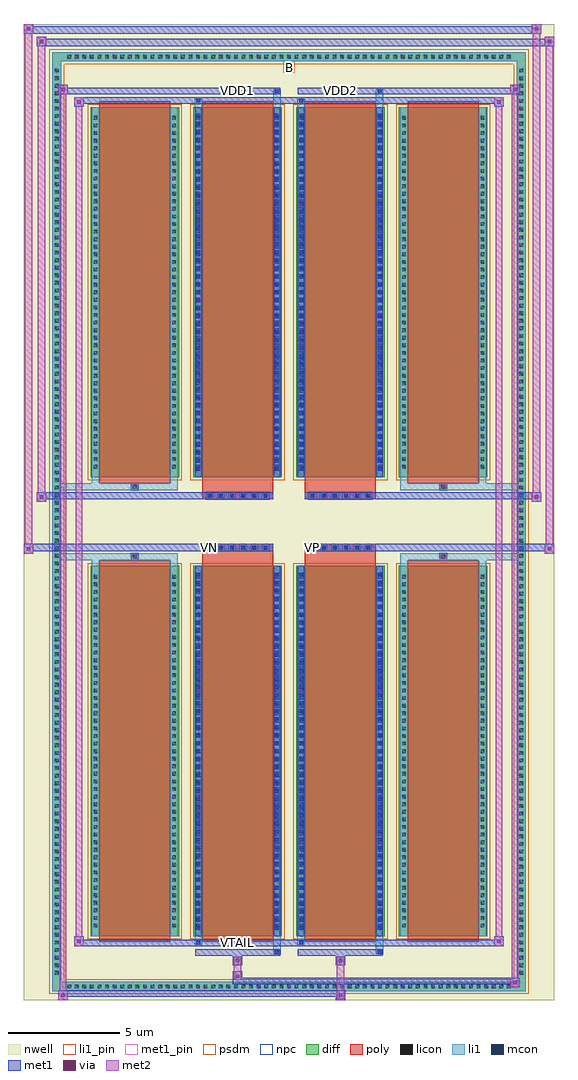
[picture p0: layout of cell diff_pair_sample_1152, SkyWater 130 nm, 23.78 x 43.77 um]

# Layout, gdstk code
import gdstk
lib = gdstk.Library(unit=1e-6, precision=5e-09)
def R(c, l, rs):  # rectangles x0, y0, x1, y1
    for r in rs: c.add(gdstk.rectangle(r[:2], r[2:], *l))
def A(c, l, x, y, w, h, nx, ny, dx, dy):  # array of equal rectangles
    R(c, l, [(x+i*dx, y+j*dy, x+i*dx+w, y+j*dy+h) for i in range(nx) for j in range(ny)])
def P(c, l, *ps):  # polygons
    for p in ps: c.add(gdstk.Polygon(p, *l))
nwell = (64, 20)
diff = (65, 20)
poly = (66, 20)
licon = (66, 44)
li1_pin = (67, 16)
li1 = (67, 20)
mcon = (67, 44)
met1_pin = (68, 16)
met1 = (68, 20)
via = (68, 44)
met2 = (69, 20)
psdm = (94, 20)
npc = (95, 20)

diff_pair_sample_1152 = lib.new_cell('diff_pair_sample_1152')
R(diff_pair_sample_1152, nwell, [(-11.89,-21.45,11.89,22.32), (-9.21,-19.64,-0.01,-0.8), (0.01,-19.64,9.21,-0.8), (-9.21,0.8,-0.01,19.64), (0.01,0.8,9.21,19.64)])
A(diff_pair_sample_1152, diff, -10.065, -21.05, 0.41, 0.41, 59, 2, 0.34, 41.69)
A(diff_pair_sample_1152, diff, -10.62, -20.435, 0.41, 0.41, 1, 120, 0, 0.34)
A(diff_pair_sample_1152, diff, 10.21, -20.435, 0.41, 0.41, 1, 120, 0, 0.34)
A(diff_pair_sample_1152, diff, -8.9, -18.595, 3.97, 16.61, 4, 2, 4.61, 20.58)
R(diff_pair_sample_1152, diff, [(-10.065,-21.05,10.065,-20.64), (-10.62,-20.435,-10.21,20.435), (10.21,-20.435,10.62,20.435), (-10.065,20.64,10.065,21.05)])
P(diff_pair_sample_1152, diff, [(10.62,21.05),(-10.62,21.05),(-10.62,-20.64),(-10.21,-20.64),(-10.21,20.64),(10.21,20.64),(10.21,-20.64),(-10.21,-20.64),(-10.62,-20.64),(-10.62,-21.05),(10.62,-21.05)])
A(diff_pair_sample_1152, poly, -8.51, -18.845, 3.19, 17.11, 4, 2, 4.61, 20.58)
A(diff_pair_sample_1152, poly, -3.72, -1.33, 0.33, 0.33, 6, 2, 0.5, 2.33)
A(diff_pair_sample_1152, poly, 0.89, -1.33, 0.33, 0.33, 6, 2, 0.5, 2.33)
R(diff_pair_sample_1152, poly, [(-7.08,-1.735,-6.75,-1.405), (-7.08,-1.735,-6.75,-1.405), (-3.9,-1.735,-0.71,-1.33), (0.71,-1.735,3.9,-1.33), (6.75,-1.735,7.08,-1.405), (6.75,-1.735,7.08,-1.405), (-3.9,-1.33,-0.71,-1), (0.71,-1.33,3.9,-1), (-3.9,1,-0.71,1.33), (0.71,1,3.9,1.33), (-3.9,1.33,-0.71,1.735), (0.71,1.33,3.9,1.735), (-7.08,1.405,-6.75,1.735), (-7.08,1.405,-6.75,1.735), (6.75,1.405,7.08,1.735), (6.75,1.405,7.08,1.735)])
A(diff_pair_sample_1152, licon, -9.945, -20.93, 0.17, 0.17, 59, 2, 0.34, 41.69)
A(diff_pair_sample_1152, licon, -10.5, -20.315, 0.17, 0.17, 1, 120, 0, 0.34)
A(diff_pair_sample_1152, licon, 10.33, -20.315, 0.17, 0.17, 1, 120, 0, 0.34)
A(diff_pair_sample_1152, licon, -8.76, -18.195, 0.17, 0.17, 1, 47, 0, 0.34)
A(diff_pair_sample_1152, licon, -5.24, -18.195, 0.17, 0.17, 1, 47, 0, 0.34)
A(diff_pair_sample_1152, licon, -4.15, -18.195, 0.17, 0.17, 1, 47, 0, 0.34)
A(diff_pair_sample_1152, licon, -0.63, -18.195, 0.17, 0.17, 1, 47, 0, 0.34)
A(diff_pair_sample_1152, licon, 0.46, -18.195, 0.17, 0.17, 1, 47, 0, 0.34)
A(diff_pair_sample_1152, licon, 3.98, -18.195, 0.17, 0.17, 1, 47, 0, 0.34)
A(diff_pair_sample_1152, licon, 5.07, -18.195, 0.17, 0.17, 1, 47, 0, 0.34)
A(diff_pair_sample_1152, licon, 8.59, -18.195, 0.17, 0.17, 1, 47, 0, 0.34)
A(diff_pair_sample_1152, licon, -3.64, -1.25, 0.17, 0.17, 6, 2, 0.5, 2.33)
A(diff_pair_sample_1152, licon, 0.97, -1.25, 0.17, 0.17, 6, 2, 0.5, 2.33)
A(diff_pair_sample_1152, licon, -8.76, 2.385, 0.17, 0.17, 1, 47, 0, 0.34)
A(diff_pair_sample_1152, licon, -5.24, 2.385, 0.17, 0.17, 1, 47, 0, 0.34)
A(diff_pair_sample_1152, licon, -4.15, 2.385, 0.17, 0.17, 1, 47, 0, 0.34)
A(diff_pair_sample_1152, licon, -0.63, 2.385, 0.17, 0.17, 1, 47, 0, 0.34)
A(diff_pair_sample_1152, licon, 0.46, 2.385, 0.17, 0.17, 1, 47, 0, 0.34)
A(diff_pair_sample_1152, licon, 3.98, 2.385, 0.17, 0.17, 1, 47, 0, 0.34)
A(diff_pair_sample_1152, licon, 5.07, 2.385, 0.17, 0.17, 1, 47, 0, 0.34)
A(diff_pair_sample_1152, licon, 8.59, 2.385, 0.17, 0.17, 1, 47, 0, 0.34)
R(diff_pair_sample_1152, licon, [(-7,-1.655,-6.83,-1.485), (6.83,-1.655,7,-1.485), (-7,1.485,-6.83,1.655), (6.83,1.485,7,1.655)])
R(diff_pair_sample_1152, li1_pin, [(-0.25,20.14,0.25,20.64)])
A(diff_pair_sample_1152, li1, -10.025, -21.01, 0.33, 0.33, 59, 2, 0.34, 41.69)
A(diff_pair_sample_1152, li1, -10.58, -20.395, 0.33, 0.33, 1, 120, 0, 0.34)
A(diff_pair_sample_1152, li1, 10.25, -20.395, 0.33, 0.33, 1, 120, 0, 0.34)
A(diff_pair_sample_1152, li1, -4.15, -18.295, 0.17, 0.17, 1, 45, 0, 0.36)
A(diff_pair_sample_1152, li1, -0.63, -18.295, 0.17, 0.17, 1, 45, 0, 0.36)
A(diff_pair_sample_1152, li1, 0.46, -18.295, 0.17, 0.17, 1, 45, 0, 0.36)
A(diff_pair_sample_1152, li1, 3.98, -18.295, 0.17, 0.17, 1, 45, 0, 0.36)
A(diff_pair_sample_1152, li1, -8.84, -18.275, 0.33, 0.33, 1, 47, 0, 0.34)
A(diff_pair_sample_1152, li1, -5.32, -18.275, 0.33, 0.33, 1, 47, 0, 0.34)
A(diff_pair_sample_1152, li1, -4.23, -18.275, 0.33, 0.33, 1, 47, 0, 0.34)
A(diff_pair_sample_1152, li1, -0.71, -18.275, 0.33, 0.33, 1, 47, 0, 0.34)
A(diff_pair_sample_1152, li1, 0.38, -18.275, 0.33, 0.33, 1, 47, 0, 0.34)
A(diff_pair_sample_1152, li1, 3.9, -18.275, 0.33, 0.33, 1, 47, 0, 0.34)
A(diff_pair_sample_1152, li1, 4.99, -18.275, 0.33, 0.33, 1, 47, 0, 0.34)
A(diff_pair_sample_1152, li1, 8.51, -18.275, 0.33, 0.33, 1, 47, 0, 0.34)
A(diff_pair_sample_1152, li1, -3.72, -1.33, 0.33, 0.33, 6, 2, 0.5, 2.33)
A(diff_pair_sample_1152, li1, 0.89, -1.33, 0.33, 0.33, 6, 2, 0.5, 2.33)
A(diff_pair_sample_1152, li1, -4.15, 2.285, 0.17, 0.17, 1, 45, 0, 0.36)
A(diff_pair_sample_1152, li1, -0.63, 2.285, 0.17, 0.17, 1, 45, 0, 0.36)
A(diff_pair_sample_1152, li1, 0.46, 2.285, 0.17, 0.17, 1, 45, 0, 0.36)
A(diff_pair_sample_1152, li1, 3.98, 2.285, 0.17, 0.17, 1, 45, 0, 0.36)
A(diff_pair_sample_1152, li1, -8.84, 2.305, 0.33, 0.33, 1, 47, 0, 0.34)
A(diff_pair_sample_1152, li1, -5.32, 2.305, 0.33, 0.33, 1, 47, 0, 0.34)
A(diff_pair_sample_1152, li1, -4.23, 2.305, 0.33, 0.33, 1, 47, 0, 0.34)
A(diff_pair_sample_1152, li1, -0.71, 2.305, 0.33, 0.33, 1, 47, 0, 0.34)
A(diff_pair_sample_1152, li1, 0.38, 2.305, 0.33, 0.33, 1, 47, 0, 0.34)
A(diff_pair_sample_1152, li1, 3.9, 2.305, 0.33, 0.33, 1, 47, 0, 0.34)
A(diff_pair_sample_1152, li1, 4.99, 2.305, 0.33, 0.33, 1, 47, 0, 0.34)
A(diff_pair_sample_1152, li1, 8.51, 2.305, 0.33, 0.33, 1, 47, 0, 0.34)
R(diff_pair_sample_1152, li1, [(-10.62,-21.05,-10.21,-20.64), (-10.62,-21.05,-10.21,-20.64), (-10.21,-21.05,10.21,-20.64), (10.21,-21.05,10.62,-20.64), (10.21,-21.05,10.62,-20.64), (-10.62,-20.64,-10.21,20.64), (10.21,-20.64,10.62,20.64), (-0.71,-19.4,-0.38,-18.595), (-0.63,-19.4,-0.46,-19.23), (3.9,-19.4,4.23,-18.595), (3.98,-19.4,4.15,-19.23), (-4.23,-18.97,-3.9,-18.595), (-4.15,-18.97,-3.98,-18.8), (0.38,-18.97,0.71,-18.595), (0.46,-18.97,0.63,-18.8), (-8.84,-18.595,-8.51,-1.985), (-5.32,-18.595,-4.99,-1.985), (-4.23,-18.595,-3.9,-1.985), (-0.71,-18.595,-0.38,-1.985), (0.38,-18.595,0.71,-1.985), (3.9,-18.595,4.23,-1.985), (4.99,-18.595,5.32,-1.985), (8.51,-18.595,8.84,-1.985), (-4.15,-18.295,-3.98,-2.285), (-0.63,-18.295,-0.46,-2.285), (0.46,-18.295,0.63,-2.285), (3.98,-18.295,4.15,-2.285), (-8.84,-1.985,-8.51,-1.405), (-5.32,-1.985,-4.99,-1.405), (4.99,-1.985,5.32,-1.405), (8.51,-1.985,8.84,-1.405), (-10.62,-1.735,-7.08,-1.405), (-8.84,-1.735,-7.08,-1.405), (-7.08,-1.735,-6.75,-1.405), (-6.75,-1.735,-4.99,-1.405), (4.99,-1.735,6.75,-1.405), (6.75,-1.735,7.08,-1.405), (6.75,-1.735,10.62,-1.405), (7.08,-1.735,8.84,-1.405), (-10.62,1.405,-7.08,1.735), (-8.84,1.405,-7.08,1.735), (-8.84,1.405,-8.51,1.985), (-7.08,1.405,-6.75,1.735), (-6.75,1.405,-4.99,1.735), (-5.32,1.405,-4.99,1.985), (4.99,1.405,6.75,1.735), (4.99,1.405,5.32,1.985), (6.75,1.405,7.08,1.735), (6.75,1.405,10.62,1.735), (7.08,1.405,8.84,1.735), (8.51,1.405,8.84,1.985), (-8.84,1.985,-8.51,18.595), (-5.32,1.985,-4.99,18.595), (-4.23,1.985,-3.9,18.595), (-0.71,1.985,-0.38,18.595), (0.38,1.985,0.71,18.595), (3.9,1.985,4.23,18.595), (4.99,1.985,5.32,18.595), (8.51,1.985,8.84,18.595), (-4.15,2.285,-3.98,18.295), (-0.63,2.285,-0.46,18.295), (0.46,2.285,0.63,18.295), (3.98,2.285,4.15,18.295), (-4.23,18.595,-3.9,18.97), (-0.71,18.595,-0.38,19.4), (0.38,18.595,0.71,18.97), (3.9,18.595,4.23,19.4), (-4.15,18.8,-3.98,18.97), (0.46,18.8,0.63,18.97), (-0.63,19.23,-0.46,19.4), (3.98,19.23,4.15,19.4), (-10.62,20.64,-10.21,21.05), (-10.62,20.64,-10.21,21.05), (-10.21,20.64,10.21,21.05), (10.21,20.64,10.62,21.05), (10.21,20.64,10.62,21.05)])
A(diff_pair_sample_1152, mcon, -4.15, -18.295, 0.17, 0.17, 1, 45, 0, 0.36)
A(diff_pair_sample_1152, mcon, -0.63, -18.295, 0.17, 0.17, 1, 45, 0, 0.36)
A(diff_pair_sample_1152, mcon, 0.46, -18.295, 0.17, 0.17, 1, 45, 0, 0.36)
A(diff_pair_sample_1152, mcon, 3.98, -18.295, 0.17, 0.17, 1, 45, 0, 0.36)
A(diff_pair_sample_1152, mcon, -3.64, -1.25, 0.17, 0.17, 6, 2, 0.5, 2.33)
A(diff_pair_sample_1152, mcon, 0.97, -1.25, 0.17, 0.17, 6, 2, 0.5, 2.33)
A(diff_pair_sample_1152, mcon, -4.15, 2.285, 0.17, 0.17, 1, 45, 0, 0.36)
A(diff_pair_sample_1152, mcon, -0.63, 2.285, 0.17, 0.17, 1, 45, 0, 0.36)
A(diff_pair_sample_1152, mcon, 0.46, 2.285, 0.17, 0.17, 1, 45, 0, 0.36)
A(diff_pair_sample_1152, mcon, 3.98, 2.285, 0.17, 0.17, 1, 45, 0, 0.36)
R(diff_pair_sample_1152, mcon, [(-0.63,-19.4,-0.46,-19.23), (3.98,-19.4,4.15,-19.23), (-4.15,-18.97,-3.98,-18.8), (0.46,-18.97,0.63,-18.8), (-4.15,18.8,-3.98,18.97), (0.46,18.8,0.63,18.97), (-0.63,19.23,-0.46,19.4), (3.98,19.23,4.15,19.4)])
R(diff_pair_sample_1152, met1_pin, [(-2.44,-19.01,-2.17,-18.74), (-3.69,-1.29,-3.42,-1.02), (0.92,-1.29,1.19,-1.02), (-2.44,19.19,-2.17,19.46), (2.17,19.19,2.44,19.46)])
A(diff_pair_sample_1152, met1, -4.21, -18.355, 0.29, 0.29, 1, 45, 0, 0.36)
A(diff_pair_sample_1152, met1, -0.69, -18.355, 0.29, 0.29, 1, 45, 0, 0.36)
A(diff_pair_sample_1152, met1, 0.4, -18.355, 0.29, 0.29, 1, 45, 0, 0.36)
A(diff_pair_sample_1152, met1, 3.92, -18.355, 0.29, 0.29, 1, 45, 0, 0.36)
A(diff_pair_sample_1152, met1, -3.7, -1.31, 0.29, 0.29, 6, 2, 0.5, 2.33)
A(diff_pair_sample_1152, met1, 0.91, -1.31, 0.29, 0.29, 6, 2, 0.5, 2.33)
A(diff_pair_sample_1152, met1, -4.21, 2.225, 0.29, 0.29, 1, 45, 0, 0.36)
A(diff_pair_sample_1152, met1, -0.69, 2.225, 0.29, 0.29, 1, 45, 0, 0.36)
A(diff_pair_sample_1152, met1, 0.4, 2.225, 0.29, 0.29, 1, 45, 0, 0.36)
A(diff_pair_sample_1152, met1, 3.92, 2.225, 0.29, 0.29, 1, 45, 0, 0.36)
R(diff_pair_sample_1152, met1, [(-10.35,-21.45,-9.92,-21.02), (2.09,-21.45,2.52,-21.02), (-10.35,-21.31,2.52,-21.02), (9.92,-20.88,10.35,-20.45), (-2.52,-20.74,10.35,-20.45), (-2.52,-20.6,-2.09,-20.17), (-2.52,-19.89,-2.09,-19.46), (2.09,-19.89,2.52,-19.46), (-4.21,-19.46,-0.4,-19.17), (-0.69,-19.46,-0.4,-19.17), (0.4,-19.46,4.21,-19.17), (3.92,-19.46,4.21,-19.17), (-9.64,-19.03,-9.21,-18.6), (-9.64,-19.03,-4.21,-18.74), (-4.21,-19.03,-3.92,-18.74), (-4.21,-19.03,-0.4,-18.74), (-0.4,-19.03,0.4,-18.74), (0.4,-19.03,0.69,-18.74), (0.4,-19.03,4.21,-18.74), (4.21,-19.03,9.64,-18.74), (9.21,-19.03,9.64,-18.6), (-4.21,-18.595,-3.92,-1.985), (-0.69,-18.595,-0.4,-1.985), (0.4,-18.595,0.69,-1.985), (3.92,-18.595,4.21,-1.985), (-11.89,-1.43,-11.46,-1), (11.46,-1.43,11.89,-1), (-11.89,-1.33,-0.71,-1), (-3.9,-1.33,-0.71,-1), (0.71,-1.33,3.9,-1), (0.71,-1.33,11.89,-1), (-11.32,0.9,-10.89,1.33), (10.89,0.9,11.32,1.33), (-11.32,1,-3.9,1.33), (-3.9,1,-0.71,1.33), (0.71,1,3.9,1.33), (3.9,1,11.32,1.33), (-4.21,1.985,-3.92,18.595), (-0.69,1.985,-0.4,18.595), (0.4,1.985,0.69,18.595), (3.92,1.985,4.21,18.595), (-9.64,18.6,-9.21,19.03), (9.21,18.6,9.64,19.03), (-9.64,18.74,-4.21,19.03), (-4.21,18.74,-3.92,19.03), (-4.21,18.74,-0.4,19.03), (-0.4,18.74,0.4,19.03), (0.4,18.74,0.69,19.03), (0.4,18.74,4.21,19.03), (4.21,18.74,9.64,19.03), (-10.35,19.17,-9.92,19.6), (-10.35,19.17,-4.21,19.46), (-4.21,19.17,-0.4,19.46), (-0.69,19.17,-0.4,19.46), (0.4,19.17,4.21,19.46), (3.92,19.17,4.21,19.46), (4.21,19.17,10.35,19.46), (9.92,19.17,10.35,19.6), (-11.32,21.32,-10.89,21.75), (-11.32,21.32,-9.21,21.65), (-9.21,21.32,9.21,21.65), (9.21,21.32,11.89,21.65), (11.46,21.32,11.89,21.75), (-11.89,21.89,-11.46,22.32), (-11.89,21.89,-9.21,22.22), (-9.21,21.89,9.21,22.22), (9.21,21.89,11.32,22.22), (10.89,21.89,11.32,22.32)])
R(diff_pair_sample_1152, via, [(-10.21,-21.31,-10.06,-21.16), (2.23,-21.31,2.38,-21.16), (10.06,-20.74,10.21,-20.59), (-2.38,-20.46,-2.23,-20.31), (-2.38,-19.75,-2.23,-19.6), (2.23,-19.75,2.38,-19.6), (-9.5,-18.89,-9.35,-18.74), (9.35,-18.89,9.5,-18.74), (-11.75,-1.29,-11.6,-1.14), (11.6,-1.29,11.75,-1.14), (-11.18,1.04,-11.03,1.19), (11.03,1.04,11.18,1.19), (-9.5,18.74,-9.35,18.89), (9.35,18.74,9.5,18.89), (-10.21,19.31,-10.06,19.46), (10.06,19.31,10.21,19.46), (-11.18,21.46,-11.03,21.61), (11.6,21.46,11.75,21.61), (-11.75,22.03,-11.6,22.18), (11.03,22.03,11.18,22.18)])
R(diff_pair_sample_1152, met2, [(-10.35,-21.45,-9.92,-21.02), (-10.28,-21.45,-9.99,19.6), (-9.99,-21.45,-9.92,-21.02), (-10.3,-21.4,-9.97,-21.07), (2.14,-21.4,2.47,-21.07), (2.14,-21.07,2.47,-19.84), (9.92,-20.88,10.35,-20.45), (9.99,-20.88,10.28,19.6), (10.28,-20.88,10.35,-20.45), (9.97,-20.83,10.3,-20.5), (-2.47,-20.55,-2.14,-20.22), (-2.47,-20.22,-2.14,-19.84), (-2.47,-19.84,-2.14,-19.51), (2.14,-19.84,2.47,-19.51), (-9.64,-19.03,-9.21,-18.6), (-9.57,-19.03,-9.28,19.03), (-9.28,-19.03,-9.21,-18.6), (9.21,-19.03,9.64,-18.6), (9.28,-19.03,9.57,19.03), (9.57,-19.03,9.64,-18.6), (-9.59,-18.98,-9.26,-18.65), (9.26,-18.98,9.59,-18.65), (-11.89,-1.43,-11.46,-1), (-11.84,-1.43,-11.51,22.32), (-11.51,-1.43,-11.46,-1), (11.46,-1.43,11.89,-1), (11.51,-1.43,11.84,21.75), (11.84,-1.43,11.89,-1), (-11.84,-1.38,-11.51,-1.05), (11.51,-1.38,11.84,-1.05), (-11.32,0.9,-10.89,1.33), (-11.27,0.9,-10.94,21.75), (-10.94,0.9,-10.89,1.33), (10.89,0.9,11.32,1.33), (10.94,0.9,11.27,22.32), (11.27,0.9,11.32,1.33), (-11.27,0.95,-10.94,1.28), (10.94,0.95,11.27,1.28), (-9.64,18.6,-9.21,19.03), (-9.28,18.6,-9.21,19.03), (9.21,18.6,9.64,19.03), (9.57,18.6,9.64,19.03), (-9.59,18.65,-9.26,18.98), (9.26,18.65,9.59,18.98), (-10.35,19.17,-9.92,19.6), (-9.99,19.17,-9.92,19.6), (9.92,19.17,10.35,19.6), (10.28,19.17,10.35,19.6), (-10.3,19.22,-9.97,19.55), (9.97,19.22,10.3,19.55), (-11.32,21.32,-10.89,21.75), (-10.94,21.32,-10.89,21.75), (11.46,21.32,11.89,21.75), (11.84,21.32,11.89,21.75), (-11.27,21.37,-10.94,21.7), (11.51,21.37,11.84,21.7), (-11.89,21.89,-11.46,22.32), (-11.51,21.89,-11.46,22.32), (10.89,21.89,11.32,22.32), (11.27,21.89,11.32,22.32), (-11.84,21.94,-11.51,22.27), (10.94,21.94,11.27,22.27)])
A(diff_pair_sample_1152, psdm, -9.03, -18.725, 4.23, 16.87, 4, 2, 4.61, 20.58)
P(diff_pair_sample_1152, psdm, [(10.75,21.18),(-10.75,21.18),(-10.75,-20.51),(-10.08,-20.51),(-10.08,20.51),(10.08,20.51),(10.08,-20.51),(-10.08,-20.51),(-10.75,-20.51),(-10.75,-21.18),(10.75,-21.18)])
A(diff_pair_sample_1152, npc, -3.74, -1.35, 0.37, 0.37, 6, 2, 0.5, 2.33)
A(diff_pair_sample_1152, npc, 0.87, -1.35, 0.37, 0.37, 6, 2, 0.5, 2.33)
R(diff_pair_sample_1152, npc, [(-7.1,-1.755,-6.73,-1.385), (6.73,-1.755,7.1,-1.385), (-3.74,-1.35,-2.87,-0.98), (-3.74,-1.35,-2.87,-0.98), (-3.24,-1.35,-2.37,-0.98), (-3.24,-1.35,-2.37,-0.98), (-2.74,-1.35,-1.87,-0.98), (-2.74,-1.35,-1.87,-0.98), (-2.24,-1.35,-1.37,-0.98), (-2.24,-1.35,-1.37,-0.98), (-1.74,-1.35,-0.87,-0.98), (-1.74,-1.35,-0.87,-0.98), (0.87,-1.35,1.74,-0.98), (0.87,-1.35,1.74,-0.98), (1.37,-1.35,2.24,-0.98), (1.37,-1.35,2.24,-0.98), (1.87,-1.35,2.74,-0.98), (1.87,-1.35,2.74,-0.98), (2.37,-1.35,3.24,-0.98), (2.37,-1.35,3.24,-0.98), (2.87,-1.35,3.74,-0.98), (2.87,-1.35,3.74,-0.98), (-3.74,0.98,-2.87,1.35), (-3.74,0.98,-2.87,1.35), (-3.24,0.98,-2.37,1.35), (-3.24,0.98,-2.37,1.35), (-2.74,0.98,-1.87,1.35), (-2.74,0.98,-1.87,1.35), (-2.24,0.98,-1.37,1.35), (-2.24,0.98,-1.37,1.35), (-1.74,0.98,-0.87,1.35), (-1.74,0.98,-0.87,1.35), (0.87,0.98,1.74,1.35), (0.87,0.98,1.74,1.35), (1.37,0.98,2.24,1.35), (1.37,0.98,2.24,1.35), (1.87,0.98,2.74,1.35), (1.87,0.98,2.74,1.35), (2.37,0.98,3.24,1.35), (2.37,0.98,3.24,1.35), (2.87,0.98,3.74,1.35), (2.87,0.98,3.74,1.35), (-7.1,1.385,-6.73,1.755), (6.73,1.385,7.1,1.755)])
diff_pair_sample_1152.add(gdstk.Label('VTAIL', (-2.305,-18.875), layer=68, texttype=5))
diff_pair_sample_1152.add(gdstk.Label('VN', (-3.555,-1.155), layer=68, texttype=5))
diff_pair_sample_1152.add(gdstk.Label('VP', (1.055,-1.155), layer=68, texttype=5))
diff_pair_sample_1152.add(gdstk.Label('B', (0,20.39), layer=67, texttype=5))
diff_pair_sample_1152.add(gdstk.Label('VDD2', (2.305,19.325), layer=68, texttype=5))
diff_pair_sample_1152.add(gdstk.Label('VDD1', (-2.305,19.325), layer=68, texttype=5))

lib.write_gds('diff_pair_sample_1152.gds')
